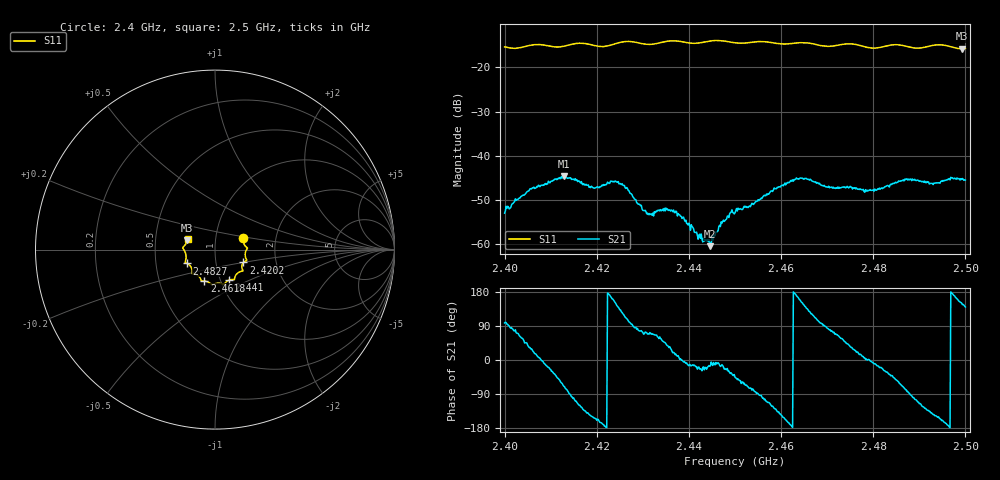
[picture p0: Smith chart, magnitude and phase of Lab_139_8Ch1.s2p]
# Hz S RI R 50
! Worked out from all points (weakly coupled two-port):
!   601 points, 2.4 GHz to 2.5 GHz, reference 50 ohm
!   highest |S21| = -44.63 dB at 2.4128 GHz (marker M1); lowest = -60.4 dB at 2.4445 GHz (marker M2)
!   lowest |S11| = -15.8 dB at 2.4993 GHz (marker M3), VSWR 1.39, Z = 36.5 + j3.84 ohm
!   |S11| at or under -10 dB: start of sweep to end of sweep
!   S12 and S22 are empty: the file has one direction only
!   S11 on the Smith chart (normalised r, x): 2.4 GHz: 1.36, +0.18; 2.4202 GHz: 1.36, -0.20; 2.441 GHz: 1.10, -0.39; 2.4618 GHz: 0.84, -0.30; 2.4827 GHz: 0.72, -0.12; 2.5 GHz: 0.73, +0.09
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2.4e9  0.1586 0.0627  -0.000306 0.00224  0 0  0 0
2.405833e9  0.1782 0.0115  0.00369 0.00208  0 0  0 0
2.412833e9  0.1692 -0.0377  0.00209 -0.00548  0 0  0 0
2.416667e9  0.1771 -0.0611  -0.00289 -0.00424  0 0  0 0
2.420167e9  0.1583 -0.0715  -0.00411 -0.00182  0 0  0 0
2.424167e9  0.1515 -0.1078  -0.00439 0.0027  0 0  0 0
2.430667e9  0.13 -0.1283  0.000697 0.00226  0 0  0 0
2.433333e9  0.1116 -0.151  0.00121 0.00209  0 0  0 0
2.436833e9  0.1081 -0.1677  0.00217 0.000737  0 0  0 0
2.441e9  0.0786 -0.1697  0.00146 -0.000383  0 0  0 0
2.4445e9  0.0535 -0.1907  0.000919 -0.000267  0 0  0 0
2.447e9  0.0476 -0.1945  0.00174 -0.000483  0 0  0 0
2.45e9  0.0286 -0.1875  0.00161 -0.00161  0 0  0 0
2.461833e9  -0.0592 -0.1753  -0.00493 -0.000973  0 0  0 0
2.466667e9  -0.0786 -0.1683  -0.00275 0.00445  0 0  0 0
2.4785e9  -0.1282 -0.1103  0.004 0.000204  0 0  0 0
2.482667e9  -0.1559 -0.0772  0.00388 -0.00229  0 0  0 0
2.483333e9  -0.1602 -0.0753  0.00367 -0.00272  0 0  0 0
2.487333e9  -0.1628 -0.0567  0.000662 -0.00546  0 0  0 0
2.492667e9  -0.1761 0.00307  -0.00373 -0.00318  0 0  0 0
2.499333e9  -0.1541 0.0512  -0.00463 0.00309  0 0  0 0
2.5e9  -0.1521 0.0607  -0.00408 0.00344  0 0  0 0
